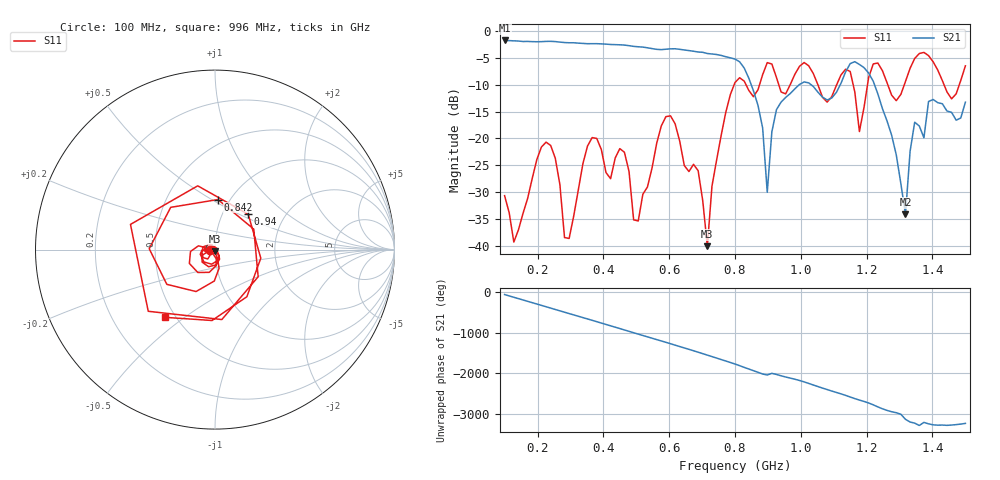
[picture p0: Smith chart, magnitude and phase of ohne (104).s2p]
! NanoVNA-App
! Date: 2025-09-26 09:56:12
! Start: 100MHz Stop: 1,5GHz Points: 101
! S-Parameter data: F S11 S21 S12 S22
# Hz S RI R 50
!  Frequency  S11_Real  S11_Imag  S21_Real  S21_Imag  S12_Real  S12_Imag  S22_Real  S22_Imag
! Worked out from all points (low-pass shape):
!   101 points, 100 MHz to 1.5 GHz, reference 50 ohm
!   highest |S21| = -1.79 dB at 100 MHz (marker M1); lowest = -34.1 dB at 1.318 GHz (marker M2)
!   |S21| within 3 dB of the highest: start of sweep to 770.6 MHz
!   lowest |S11| = -40.0 dB at 716 MHz (marker M3), VSWR 1.02, Z = 49.9 - j0.99 ohm
!   |S11| at or under -10 dB: start of sweep to 797.5 MHz; 833.3 MHz to 874.7 MHz (41.36 MHz wide, 4.84 % of centre); 1.052 GHz to 1.109 GHz (57.35 MHz wide, 5.31 % of centre) (the widest 3 of 7)
!   S12 and S22 are empty: the file has one direction only
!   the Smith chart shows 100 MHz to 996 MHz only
!   S11 on the Smith chart (normalised r, x): 100 MHz: 0.94, -0.01; 842 MHz: 0.88, +0.53; 940 MHz: 1.32, +0.56; 996 MHz: 0.44, -0.43
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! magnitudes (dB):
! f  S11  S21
! 100 MHz  -30.6  -1.8
! 128 MHz  -39.2  -1.9
! 226 MHz  -20.7  -2.0
! 296 MHz  -38.6  -2.2
! 338 MHz  -24.6  -2.3
! 464 MHz  -22.6  -2.6
! 506 MHz  -35.3  -3.0
! 576 MHz  -17.7  -3.5
! 688 MHz  -26.0  -3.9
! 716 MHz  -40.0  -4.2
! 800 MHz  -9.6  -5.2
! 842 MHz  -11.1  -8.8
! 898 MHz  -5.9  -30.0
! 940 MHz  -11.4  -13.3
! 996 MHz  -6.6  -10.0
! 1.038 GHz  -7.9  -10.3
! 1.178 GHz  -18.7  -6.3
! 1.22 GHz  -6.2  -9.4
! 1.276 GHz  -12.0  -19.4
! 1.318 GHz  -9.4  -34.1
! 1.346 GHz  -5.1  -17.0
! 1.5 GHz  -6.5  -13.3
